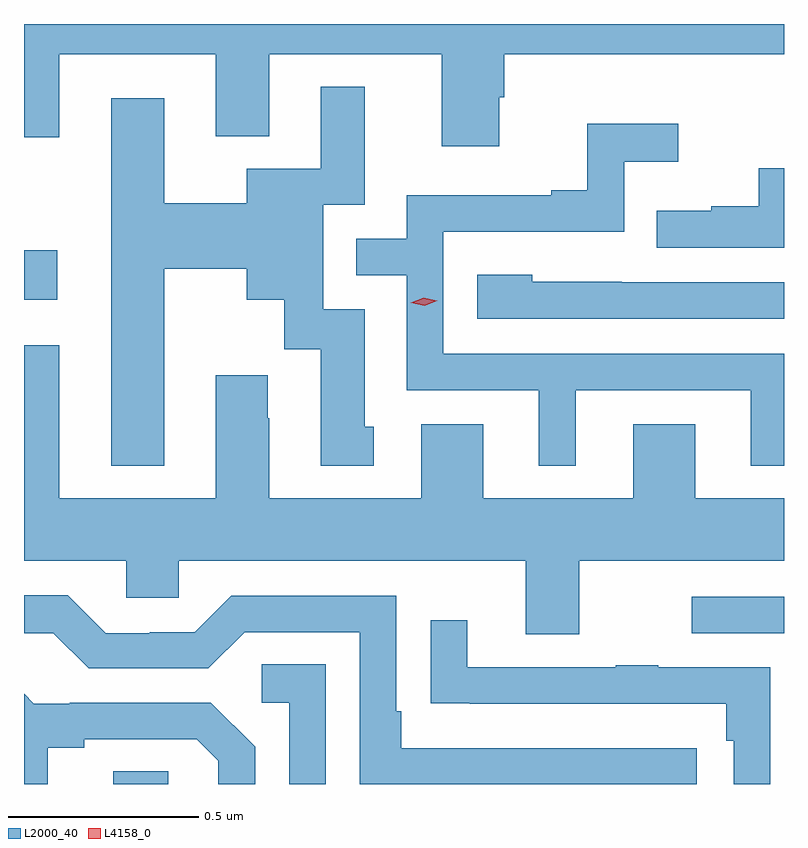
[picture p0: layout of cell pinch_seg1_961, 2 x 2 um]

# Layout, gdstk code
import gdstk
lib = gdstk.Library(unit=1e-6, precision=1e-09)
def R(c, l, rs):  # rectangles x0, y0, x1, y1
    for r in rs: c.add(gdstk.rectangle(r[:2], r[2:], *l))
def P(c, l, *ps):  # polygons
    for p in ps: c.add(gdstk.Polygon(p, *l))
L2000_40 = (2000, 40)
L4158_0 = (4158, 0)

pinch_seg1_961 = lib.new_cell('pinch_seg1_961')
R(pinch_seg1_961, L2000_40, [(149.675,575.12,149.82,575.153), (151.197,575.517,151.44,575.613), (149.44,576.395,149.527,576.525)])
P(pinch_seg1_961, L2000_40, [(149.44,576.822),(149.533,576.822),(149.533,577.04),(149.945,577.04),(149.945,576.824),(150.085,576.824),(150.085,577.04),(150.539,577.04),(150.539,576.798),(150.691,576.798),(150.691,576.927),(150.704,576.927),(150.704,577.04),(151.44,577.04),(151.44,577.12),(149.44,577.12)],
  [(149.809,576.476),(150.026,576.476),(150.026,576.395),(150.125,576.395),(150.125,576.264),(150.221,576.264),(150.221,575.958),(150.361,575.958),(150.361,576.06),(150.337,576.06),(150.337,576.369),(150.228,576.369),(150.228,576.645),(150.337,576.645),(150.337,576.955),(150.221,576.955),(150.221,576.739),(150.026,576.739),(150.026,576.648),(149.809,576.648),(149.809,576.925),(149.669,576.925),(149.669,575.957),(149.809,575.957)],
  [(150.892,576.156),(151.352,576.156),(151.352,575.957),(151.44,575.957),(151.44,576.252),(150.543,576.252),(150.543,576.573),(151.02,576.573),(151.02,576.758),(151.162,576.758),(151.162,576.857),(150.922,576.857),(150.922,576.682),(150.827,576.682),(150.827,576.669),(150.447,576.669),(150.447,576.555),(150.314,576.555),(150.314,576.459),(150.447,576.459),(150.447,576.156),(150.794,576.156),(150.794,575.957),(150.892,575.957)],
  [(151.44,576.741),(151.373,576.741),(151.373,576.64),(151.249,576.64),(151.249,576.628),(151.105,576.628),(151.105,576.531),(151.44,576.531)],
  [(151.44,576.441),(151.013,576.441),(151.013,576.442),(150.777,576.442),(150.777,576.46),(150.633,576.46),(150.633,576.345),(151.44,576.345)],
  [(150.901,575.708),(151.44,575.708),(151.44,575.872),(151.207,575.872),(151.207,576.067),(151.043,576.067),(151.043,575.872),(150.649,575.872),(150.649,576.067),(150.485,576.067),(150.485,575.872),(150.085,575.872),(150.085,576.083),(150.082,576.083),(150.082,576.196),(149.945,576.196),(149.945,575.872),(149.533,575.872),(149.533,576.274),(149.44,576.274),(149.44,575.708),(149.709,575.708),(149.709,575.61),(149.847,575.61),(149.847,575.708),(150.761,575.708),(150.761,575.514),(150.901,575.514)],
  [(151.21,575.214),(150.433,575.214),(150.433,575.311),(150.42,575.311),(150.42,575.616),(149.985,575.616),(149.889,575.52),(149.771,575.52),(149.771,575.517),(149.655,575.517),(149.555,575.617),(149.44,575.617),(149.44,575.517),(149.517,575.517),(149.61,575.424),(149.925,575.424),(150.021,575.52),(150.324,575.52),(150.324,575.12),(151.21,575.12)],
  [(151.404,575.427),(151.109,575.427),(151.109,575.432),(150.997,575.432),(150.997,575.427),(150.607,575.427),(150.607,575.551),(150.511,575.551),(150.511,575.332),(150.613,575.332),(150.613,575.331),(151.288,575.331),(151.288,575.234),(151.308,575.234),(151.308,575.12),(151.404,575.12)],
  [(150.234,575.435),(150.066,575.435),(150.066,575.334),(150.138,575.334),(150.138,575.12),(150.234,575.12)],
  [(149.503,575.216),(149.599,575.216),(149.599,575.238),(149.894,575.238),(149.951,575.181),(149.951,575.12),(150.048,575.12),(150.048,575.218),(149.932,575.334),(149.56,575.334),(149.56,575.331),(149.466,575.331),(149.44,575.357),(149.44,575.12),(149.503,575.12)])
P(pinch_seg1_961, L4158_0, [(150.494,576.379),(150.458,576.386),(150.458,576.387),(150.458,576.387),(150.492,576.399),(150.527,576.392),(150.528,576.392),(150.527,576.392)])

lib.write_gds('pinch_seg1_961.gds')
